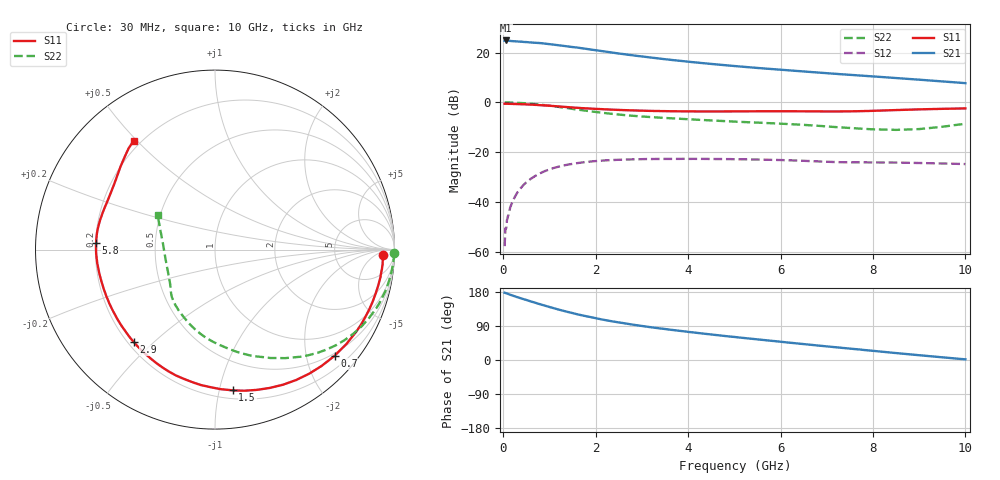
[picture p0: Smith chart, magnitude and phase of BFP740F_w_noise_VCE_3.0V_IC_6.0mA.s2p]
! Infineon Technologies  Discrete & RF Semiconductors
! BFP740F
! VCE =  3.0 V,  IC =  6.0 mA
! Common Emitter S-Parameters:  Oct 2012
# GHz  S  MA  R  50
!  f  S11  S21  S12  S22
! GHz  MAG  ANG  MAG  ANG  MAG  ANG  MAG  ANG
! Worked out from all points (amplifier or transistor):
!   99 points, 30 MHz to 10 GHz, reference 50 ohm
!   highest |S21| = 24.9 dB at 50 MHz (marker M1)
!   |S21| within 3 dB of that: start of sweep to 1.657 GHz
!   unconditionally stable (mu >= 1): 7.244 GHz to end of sweep
!   at 350 MHz: K = 0.06, MSG = 29.7 dB, |S12| = -35.0 dB
!   at 3.5 GHz: K = 0.37, MSG = 20.0 dB, |S12| = -22.7 dB
!   at 10 GHz: K = 1.30, MAG = 12.9 dB, |S12| = -24.8 dB
!   lowest NFmin = 0.39 dB at 450 MHz
!   S11 on the Smith chart (normalised r, x): 30 MHz: 25, -13; 700 MHz: 0.45, -2.56; 1.5 GHz: 0.26, -1.10; 2.9 GHz: 0.22, -0.43; 5.8 GHz: 0.20, +0.03; 10 GHz: 0.17, +0.49
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0.03  0.9384 -1.9  17.28 177.6  0.0013 86.6  0.997 -1.2
0.05  0.9382 -3.1  17.49 176.9  0.003 65.2  0.998 -2.2
0.15  0.9348 -9.3  17.1 172.3  0.0078 87.6  0.9927 -6.2
0.3  0.925 -18.3  16.72 166.0  0.0152 79.4  0.9805 -12.2
0.5  0.9103 -30.1  16.24 158.4  0.0248 71.9  0.9556 -20.1
0.7  0.891 -41.6  15.69 150.8  0.0337 65.4  0.922 -27.6
0.8  0.8792 -47.5  15.49 147.0  0.0378 62.2  0.9022 -31.3
1.1  0.8427 -63.3  14.37 136.5  0.0484 52.5  0.8333 -42.0
1.3  0.8156 -73.4  13.63 129.9  0.0539 46.9  0.7856 -48.5
1.5  0.7905 -82.8  12.9 123.8  0.0583 41.8  0.7394 -54.4
1.7  0.767 -91.8  12.21 118.0  0.0621 37.4  0.6976 -60.0
2.1  0.7341 -107.4  10.81 107.8  0.0675 29.4  0.6255 -71.0
2.3  0.7187 -114.1  10.17 103.3  0.0692 25.9  0.5956 -75.7
2.5  0.7056 -120.1  9.568 99.2  0.0705 22.8  0.5707 -79.9
2.9  0.6857 -131.2  8.562 91.6  0.0721 17.8  0.5296 -87.7
3.4  0.6691 -143.1  7.548 83.2  0.0731 12.3  0.4929 -95.9
4.2  0.6576 -158.6  6.289 71.5  0.0734 5.5  0.4484 -106.2
5.1  0.6604 -173.3  5.272 59.4  0.0721 -0.6  0.4075 -116.8
5.8  0.6632 176.8  4.675 50.7  0.0702 -4.5  0.3816 -125.1
6.7  0.6592 163.5  4.041 39.6  0.0659 -8.5  0.3443 -135.3
8.5  0.7009 138.7  3.078 18.3  0.0619 -9.6  0.2805 -170.5
10  0.7572 126.7  2.432 1.7  0.0578 -11.5  0.3728 149.0
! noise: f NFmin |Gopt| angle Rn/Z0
0.45  0.39  0.32  6  0.21
0.9  0.44  0.32  12  0.18
1.5  0.51  0.32  24  0.14
1.9  0.55  0.31  32  0.13
2.4  0.62  0.3  41  0.12
3.5  0.75  0.27  66  0.11
5.5  0.99  0.17  113  0.19
10  1.49  0.4  -125  0.07
